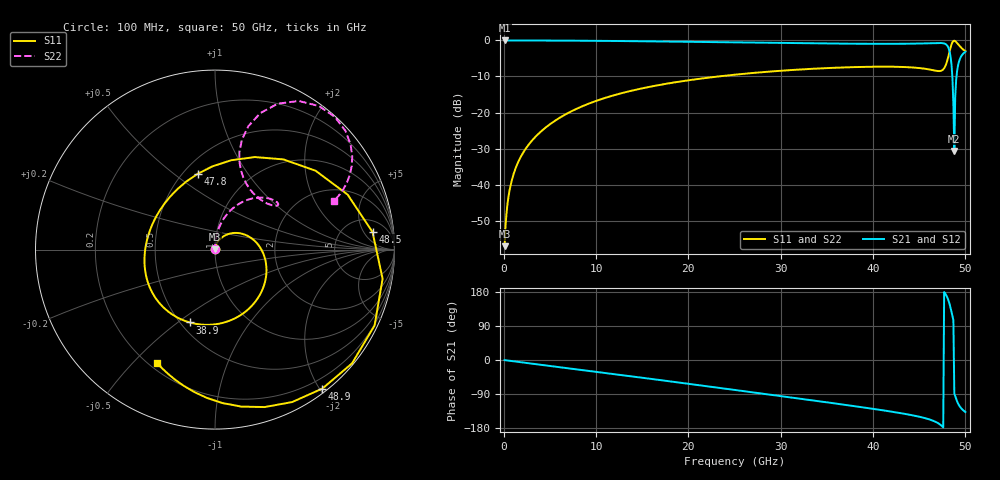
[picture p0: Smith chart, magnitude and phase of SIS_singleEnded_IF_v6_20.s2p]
! Touchstone file from project
# GHZ S MA R 20.000000
! Modal data exported
! Port[1] = IF_output:1
! Port[2] = RF_input:1
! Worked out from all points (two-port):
!   500 points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, 100 MHz to 50 GHz, reference 20 ohm
!   highest |S21| = 0.00 dB at 100 MHz (marker M1); lowest = -30.7 dB at 48.8 GHz (marker M2)
!   |S21| within 3 dB of the highest: start of sweep to 48.28 GHz
!   lowest |S11| = -57.1 dB at 100 MHz (marker M3), VSWR 1.00, Z = 20 + j0.0537 ohm
!   |S11| at or under -10 dB: start of sweep to 23.23 GHz
!   |S22| runs from -57.2 to 0.0 dB; largest |S21 - S12| = 0
!   S11 on the Smith chart (normalised r, x): 100 MHz: 1.00, +0.00; 38.9 GHz: 0.56, -0.55; 47.8 GHz: 0.59, +0.61; 48.5 GHz: 9, +8; 48.9 GHz: 0.06, -2.04; 50 GHz: 0.23, -0.59
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0.1  0.001398 73.8  0.9999 -0.3  0.9999 -0.3  0.001374 101.5
! Gamma 6.515811E-003 5.874634E+000 0.000000E+000 0.000000E+000
! Port Impedance 2.000000E+001 0.000000E+000 2.000000E+001 0.000000E+000
0.5  0.006513 82.3  0.9998 -1.6  0.9998 -1.6  0.006511 90.4
0.8  0.01042 82.5  0.9997 -2.6  0.9997 -2.6  0.01041 89.7
2.1  0.02761 77.5  0.9992 -6.7  0.9992 -6.7  0.02761 88.1
4.6  0.06271 65.4  0.9974 -14.5  0.9974 -14.5  0.06279 85.1
8.5  0.1219 47.0  0.9916 -26.5  0.9916 -26.5  0.1221 79.7
16.8  0.2404 7.1  0.969 -52.5  0.969 -52.5  0.2414 67.7
25.1  0.3356 -34.8  0.9394 -79.3  0.9394 -79.3  0.3375 56.0
33.4  0.4041 -78.2  0.9112 -106.4  0.9112 -106.4  0.4066 45.0
38.9  0.4296 -109.0  0.8991 -125.0  0.8991 -125.0  0.4322 38.6
41.7  0.4325 -126.9  0.8976 -135.1  0.8976 -135.1  0.4349 36.1
46.5  0.3866 177.2  0.9186 -160.3  0.9186 -160.3  0.3875 41.6
47.3  0.3774 144.0  0.9225 -170.9  0.9225 -170.9  0.3772 53.5
47.8  0.4333 102.8  0.8974 175.9  0.8974 175.9  0.4324 68.7
48.2  0.6306 52.9  0.7706 154.7  0.7706 154.7  0.6305 76.3
48.5  0.8831 6.4  0.456 126.8  0.456 126.8  0.8851 66.7
48.6  0.9478 -9.9  0.2973 115.7  0.2973 115.7  0.9505 60.6
48.8  0.9924 -39.7  0.02922 -88.3  0.02922 -88.3  0.9962 47.8
48.9  0.9785 -52.3  0.1681 -95.3  0.1681 -95.3  0.9827 42.3
49.1  0.9199 -72.5  0.3746 -109.2  0.3746 -109.2  0.9244 34.2
49.3  0.8559 -87.3  0.5049 -119.1  0.5049 -119.1  0.8604 29.1
50  0.7105 -116.9  0.6961 -137.2  0.6961 -137.2  0.7146 22.2
